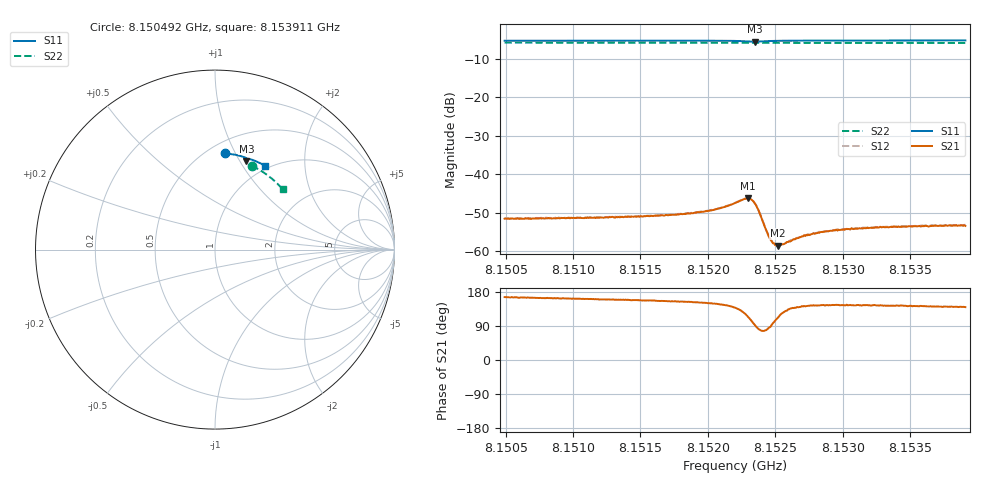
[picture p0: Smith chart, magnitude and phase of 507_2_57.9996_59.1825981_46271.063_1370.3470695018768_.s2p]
#  HZ  S  RI  R  50.00
! Rohde & Schwarz Vector Network Analyzer
! Rohde-Schwarz,ZNB20-2Port,1311601062101988,3.16
! Created: UTC 3/21/2024, 1:13:02 AM
! freq[Hz]  re:S11  im:S11  re:S21  im:S21  re:S12  im:S12  re:S22  im:S22
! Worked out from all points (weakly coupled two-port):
!   401 points, 8.150492 GHz to 8.153911 GHz, reference 50 ohm
!   highest |S21| = -46.26 dB at 8.152295 GHz (marker M1); lowest = -58.5 dB at 8.152518 GHz (marker M2)
!   lowest |S11| = -5.6 dB at 8.152347 GHz (marker M3), VSWR 3.20, Z = 39.2 + j53.4 ohm
!   |S11| at or under -10 dB: nowhere
!   |S22| runs from -5.9 to -5.9 dB; largest |S21 - S12| = 0.00012
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8.150492e9  0.0567 0.5358  -0.00257 0.000644  -0.00262 0.000694  0.2051 0.4665
8.1510646e9  0.0967 0.531  -0.00256 0.000882  -0.00262 0.000925  0.238 0.45
8.1516372e9  0.1363 0.5229  -0.00266 0.00119  -0.00266 0.00123  0.2692 0.4309
8.1518765e9  0.1533 0.5184  -0.0028 0.0014  -0.00279 0.0015  0.2818 0.4221
8.1520133e9  0.1634 0.5149  -0.00293 0.00171  -0.00292 0.00176  0.289 0.417
8.1521073e9  0.1707 0.5117  -0.00309 0.00207  -0.00305 0.00213  0.2938 0.4135
8.1522013e9  0.178 0.5062  -0.00315 0.00282  -0.00312 0.00289  0.2987 0.4096
8.1522611e9  0.1812 0.5003  -0.0028 0.0038  -0.00276 0.00387  0.3015 0.4072
8.1522953e9  0.1807 0.4958  -0.00209 0.00439  -0.00203 0.00445  0.303 0.4058
8.152321e9  0.1783 0.4937  -0.00117 0.00458  -0.00112 0.00462  0.3042 0.4047
8.1523466e9  0.1751 0.4939  -0.0002 0.00423  -0.000167 0.00426  0.3052 0.4039
8.1523722e9  0.1732 0.4965  0.000434 0.00349  0.000492 0.00354  0.3063 0.4031
8.1524321e9  0.1757 0.5029  0.000369 0.00186  0.000396 0.00186  0.3096 0.4011
8.1524662e9  0.1792 0.5046  4.3e-05 0.00141  4.72e-05 0.00144  0.3112 0.3998
8.1524919e9  0.1818 0.5051  -0.000232 0.00125  -0.000191 0.00126  0.3125 0.3988
8.1525175e9  0.1843 0.5054  -0.000431 0.00111  -0.000428 0.00112  0.3138 0.3977
8.1525517e9  0.1876 0.5053  -0.000682 0.00103  -0.00068 0.00105  0.3155 0.3962
8.152697e9  0.1995 0.5028  -0.00123 0.000967  -0.00125 0.000992  0.3226 0.3904
8.1527739e9  0.2053 0.5009  -0.00135 0.001  -0.00135 0.00103  0.3264 0.387
8.1529534e9  0.2178 0.4965  -0.00158 0.00108  -0.00154 0.0011  0.3347 0.3795
8.1533465e9  0.2435 0.4853  -0.00165 0.00124  -0.00169 0.00126  0.3527 0.362
8.1539106e9  0.2783 0.4671  -0.00163 0.00139  -0.00167 0.00145  0.3766 0.3358
